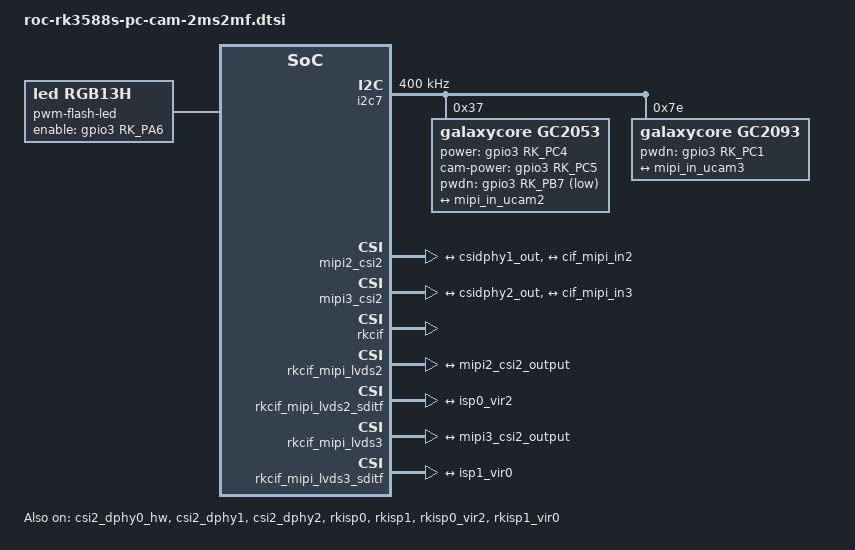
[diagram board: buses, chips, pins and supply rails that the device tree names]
// SPDX-License-Identifier: (GPL-2.0+ OR MIT)
/*
 * Copyright (c) 2021 Rockchip Electronics Co., Ltd.
 *
 */
/ {
	vcc_mipidphy0: vcc-mipidcphy0-regulator {
		status = "disabled";
		compatible = "regulator-fixed";
		gpio = <&gpio3 RK_PC5 GPIO_ACTIVE_HIGH>;
		pinctrl-names = "default";
		pinctrl-0 = <&mipidphy0_pwr>;
		regulator-name = "vcc_mipidphy0";
		enable-active-high;
	};
	flash_led: flash-led {
		status = "okay";
		compatible = "led,rgb13h";
		label = "pwm-flash-led";
		led-max-microamp = <20000>;
		flash-max-microamp = <20000>;
		flash-max-timeout-us = <1000000>;
		enable-gpio=<&gpio3 RK_PA6 GPIO_ACTIVE_HIGH>;
		rockchip,camera-module-index = <1>;
		rockchip,camera-module-facing = "front";
	};
};

&csi2_dphy0_hw {
	status = "okay";
};

&csi2_dphy1 {
	status = "okay";
#ifdef FF_COMPATIBLE
	firefly-compatible;
#endif
	ports {
		#address-cells = <1>;
		#size-cells = <0>;
		port@0 {
			reg = <0>;
			#address-cells = <1>;
			#size-cells = <0>;

			mipi_in_ucam2: endpoint@1 {
				reg = <1>;
				remote-endpoint = <&gc2053_out2>;
				data-lanes = <1 2>;
			};
		};
		port@1 {
			reg = <1>;
			#address-cells = <1>;
			#size-cells = <0>;

			csidphy1_out: endpoint@0 {
				reg = <0>;
				remote-endpoint = <&mipi2_csi2_input1>;
			};
		};
	};
};

&csi2_dphy2 {
	status = "okay";
#ifdef FF_COMPATIBLE
	firefly-compatible;
#endif
	ports {
		#address-cells = <1>;
		#size-cells = <0>;
		port@0 {
			reg = <0>;
			#address-cells = <1>;
			#size-cells = <0>;

			mipi_in_ucam3: endpoint@1 {
				reg = <1>;
				remote-endpoint = <&gc2093_out3>;
				data-lanes = <1 2>;
			};
		};
		port@1 {
			reg = <1>;
			#address-cells = <1>;
			#size-cells = <0>;

			csidphy2_out: endpoint@0 {
				reg = <0>;
				remote-endpoint = <&mipi3_csi2_input>;
			};
		};
	};
};



&i2c7 {
        status = "okay";
        pinctrl-names = "default";
        pinctrl-0 = <&i2c7m2_xfer>;
	clock-frequency = <400000>;

	/* module 77/79 0x1a 78/80 0x36 */
	gc2053: gc2053b@37 {
		compatible = "galaxycore,gc2053";
		status = "okay";
		reg = <0x37>;
		clocks = <&cru CLK_MIPI_CAMARAOUT_M2>;
		clock-names = "xvclk";
		pinctrl-names = "default";
		pinctrl-0 = <&mipim0_camera2_clk>;
		power-domains = <&power RK3588_PD_VI>;
		//avdd-supply = <&vcc_mipidphy0>;
		power-gpios = <&gpio3 RK_PC4 GPIO_ACTIVE_HIGH>;
		cam-power-gpios = <&gpio3 RK_PC5 GPIO_ACTIVE_HIGH>;
		pwdn-gpios = <&gpio3 RK_PB7 GPIO_ACTIVE_LOW>;

		#define FF_COMPATIBLE
		firefly,clkout-enabled-index = <1>;
		rockchip,camera-module-index = <0>;
		rockchip,camera-module-facing = "back";
		rockchip,camera-module-name = "YT-RV1109-2-V1";
		rockchip,camera-module-lens-name = "40IR-2MP-F20";
		port {
			gc2053_out2: endpoint {
				remote-endpoint = <&mipi_in_ucam2>;
				data-lanes = <1 2>;
			};
		};
	};

	gc2093: gc2093f@7e {
		compatible = "galaxycore,gc2093";
		status = "okay";
		reg = <0x7e>;
		clock-names = "xvclk";
		pinctrl-names = "default";
		power-domains = <&power RK3588_PD_VI>;
		//avdd-supply = <&vcc_mipidphy0>;
		flash-leds = <&flash_led>;
		//reset-gpios = <&gpio1 RK_PA0 GPIO_ACTIVE_LOW>;
		pwdn-gpios = <&gpio3 RK_PC1 GPIO_ACTIVE_HIGH>;
		firefly,clkout-enabled-index = <0>;
		rockchip,camera-module-index = <1>;
		rockchip,camera-module-facing = "front";
		rockchip,camera-module-name = "YT-RV1109-2-V1";
		rockchip,camera-module-lens-name = "40IR-2MP-F20";
		port {
			gc2093_out3: endpoint {
				remote-endpoint = <&mipi_in_ucam3>;
				data-lanes = <1 2>;
			};
		};
	};
};


&mipi2_csi2 {
	status = "okay";
#ifdef FF_COMPATIBLE
	firefly-compatible;
#endif

	ports {
		#address-cells = <1>;
		#size-cells = <0>;

		port@0 {
			reg = <0>;
			#address-cells = <1>;
			#size-cells = <0>;

			mipi2_csi2_input1: endpoint@1 {
				reg = <1>;
				remote-endpoint = <&csidphy1_out>;
			};
		};

		port@1 {
			reg = <1>;
			#address-cells = <1>;
			#size-cells = <0>;

			mipi2_csi2_output: endpoint@0 {
				reg = <0>;
				remote-endpoint = <&cif_mipi_in2>;
			};
		};
	};
};

&mipi3_csi2 {
	status = "okay";
#ifdef FF_COMPATIBLE
	firefly-compatible;
#endif
	ports {
		#address-cells = <1>;
		#size-cells = <0>;

		port@0 {
			reg = <0>;
			#address-cells = <1>;
			#size-cells = <0>;

			mipi3_csi2_input: endpoint@1 {
				reg = <1>;
				remote-endpoint = <&csidphy2_out>;
			};
		};

		port@1 {
			reg = <1>;
			#address-cells = <1>;
			#size-cells = <0>;

			mipi3_csi2_output: endpoint@0 {
				reg = <0>;
				remote-endpoint = <&cif_mipi_in3>;
			};
		};
	};
};


&rkcif {
	status = "okay";
};


&rkcif_mipi_lvds2 {
	status = "okay";

	port {
		cif_mipi_in2: endpoint {
			remote-endpoint = <&mipi2_csi2_output>;
		};
	};
};

&rkcif_mipi_lvds2_sditf {
	status = "okay";

	port {
		mipi2_lvds_sditf: endpoint {
			remote-endpoint = <&isp0_vir2>;
		};
	};
};

&rkcif_mipi_lvds3 {
	status = "okay";

	port {
		cif_mipi_in3: endpoint {
			remote-endpoint = <&mipi3_csi2_output>;
		};
	};
};


&rkcif_mipi_lvds3_sditf {
        status = "okay";

        port {
                mipi3_lvds_sditf: endpoint {
                        remote-endpoint = <&isp1_vir0>;
                };
        };
};

&rkcif_mmu {
	status = "okay";
};

&rkisp0 {
	status = "okay";
};

&isp0_mmu {
	status = "okay";
};


&rkisp1 {
	status = "okay";
};

&isp1_mmu {
	status = "okay";
};

&rkisp0_vir2 {
        status = "okay";

        port {
                #address-cells = <1>;
                #size-cells = <0>;

                isp0_vir2: endpoint@0 {
                        reg = <0>;
                        remote-endpoint = <&mipi2_lvds_sditf>;
                };
        };
};

&rkisp1_vir0 {
        status = "okay";

        port {
                #address-cells = <1>;
                #size-cells = <0>;

                isp1_vir0: endpoint@0 {
                        reg = <0>;
                        remote-endpoint = <&mipi3_lvds_sditf>;
                };
        };
};

&pinctrl {
        cam {
                mipidphy0_pwr: mipidphy0-pwr {
                        rockchip,pins =
                                /* camera power en */
                                <3 RK_PC5 RK_FUNC_GPIO &pcfg_pull_none>;
                };
        };
};

